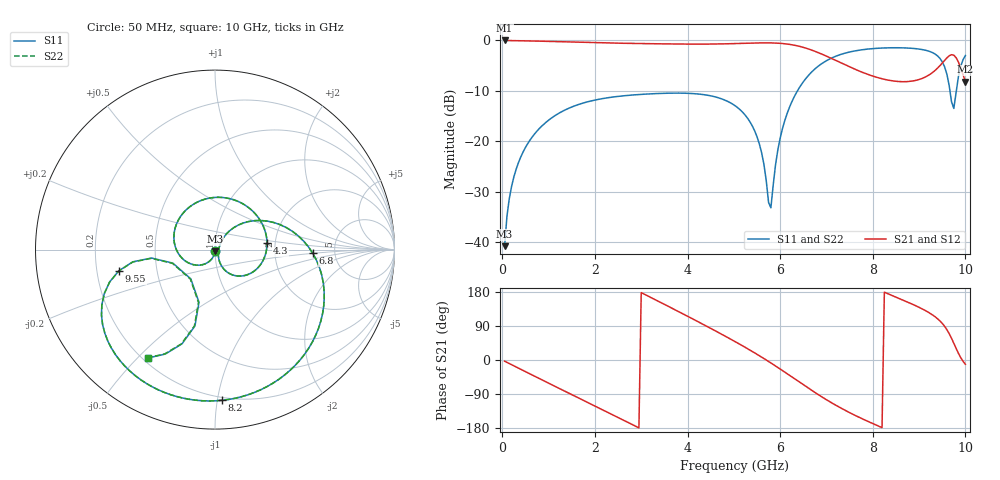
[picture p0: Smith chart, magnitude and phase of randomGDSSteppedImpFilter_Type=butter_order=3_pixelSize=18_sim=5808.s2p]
! freq	dB(S11)	phase(S11)	dB(S12)	phase(S12)
!  dB(S21)	phase(S21)	dB(S22)	phase(S22)
!S-par simulation data
#  GHz  S  DB  R 50
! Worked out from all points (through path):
!   200 points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, 50 MHz to 10 GHz, reference 50 ohm
!   highest |S21| = -0.01 dB at 50 MHz (marker M1); lowest = -8.2 dB at 10 GHz (marker M2)
!   group delay of S21, straight-line fit = 188 ps
!   lowest |S11| = -40.8 dB at 50 MHz (marker M3), VSWR 1.02, Z = 50 - j0.91 ohm
!   |S11| at or under -10 dB: start of sweep to 6.374 GHz; 9.666 GHz to 9.804 GHz (138 MHz wide, 1.42 % of centre)
!   |S22| runs from -40.8 to -1.4 dB; largest |S21 - S12| = 0
!   S11 on the Smith chart (normalised r, x): 50 MHz: 1.00, -0.02; 4.3 GHz: 1.81, +0.14; 6.8 GHz: 3.38, -0.19; 8.2 GHz: 0.18, -1.03; 9.55 GHz: 0.29, -0.10; 10 GHz: 0.22, -0.54
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0.05  -40.82 -91.1  -0.01 -3.1  -0.01 -3.1  -40.82 -91.4
0.2  -28.98 -102.0  -0.03 -12.4  -0.03 -12.4  -28.99 -101.9
0.5  -21.24 -121.1  -0.08 -30.7  -0.08 -30.7  -21.24 -121.1
1.15  -14.85 -161.0  -0.23 -70.2  -0.23 -70.2  -14.85 -160.9
1.75  -12.41 162.8  -0.39 -106.4  -0.39 -106.4  -12.41 162.8
2.6  -11.00 111.5  -0.56 -157.7  -0.56 -157.7  -11.00 111.6
3.4  -10.52 62.7  -0.67 153.1  -0.67 153.1  -10.52 62.7
4.3  -10.70 6.8  -0.73 96.4  -0.73 96.4  -10.70 6.8
5.05  -13.11 -40.5  -0.62 47.0  -0.62 47.0  -13.11 -40.6
5.5  -19.10 -66.8  -0.50 15.1  -0.50 15.1  -19.10 -66.9
5.8  -33.20 10.8  -0.49 -7.8  -0.49 -7.8  -33.25 10.9
5.95  -21.71 54.6  -0.55 -19.7  -0.55 -19.7  -21.71 54.7
6.1  -15.89 49.5  -0.66 -31.9  -0.66 -31.9  -15.89 49.6
6.7  -6.09 5.5  -1.98 -81.7  -1.98 -81.7  -6.09 5.5
6.8  -5.28 -2.1  -2.33 -89.6  -2.33 -89.6  -5.28 -2.1
7.35  -2.66 -40.3  -4.62 -129.3  -4.62 -129.3  -2.66 -40.3
8.2  -1.51 -87.4  -7.61 -178.4  -7.61 -178.4  -1.51 -87.4
8.35  -1.46 -94.8  -7.91 173.7  -7.91 173.7  -1.46 -94.9
9  -1.71 -127.6  -7.75 139.0  -7.75 139.0  -1.71 -127.7
9.55  -5.21 -167.5  -3.97 89.1  -3.97 89.1  -5.20 -167.4
9.75  -13.49 -129.6  -2.93 44.0  -2.93 44.0  -13.39 -129.8
10  -3.00 -121.6  -8.19 -11.3  -8.19 -11.3  -3.00 -121.8
